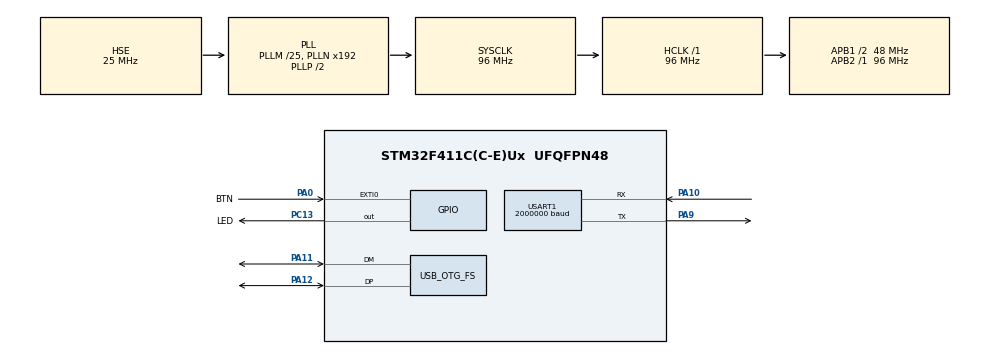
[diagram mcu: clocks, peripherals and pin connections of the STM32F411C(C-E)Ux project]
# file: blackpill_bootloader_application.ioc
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Mcu.Family=STM32F4
Mcu.Name=STM32F411C(C-E)Ux
Mcu.Package=UFQFPN48
NVIC.EXTI0_IRQn=true\:0\:0\:false\:false\:true\:true\:true\:true
NVIC.OTG_FS_IRQn=true\:0\:0\:false\:false\:true\:false\:true\:true
NVIC.PriorityGroup=NVIC_PRIORITYGROUP_4
PA0-WKUP.GPIO_Label=BTN
PA0-WKUP.GPIO_PuPd=GPIO_PULLUP
PA0-WKUP.Signal=GPXTI0
PA10.Mode=Asynchronous
PA10.Signal=USART1_RX
PA11.Mode=Device_Only
PA11.Signal=USB_OTG_FS_DM
PA12.Mode=Device_Only
PA12.Signal=USB_OTG_FS_DP
PA13.Mode=Trace_Asynchronous_SW
PA13.Signal=SYS_JTMS-SWDIO
PA14.Mode=Trace_Asynchronous_SW
PA14.Signal=SYS_JTCK-SWCLK
PA9.Mode=Asynchronous
PA9.Signal=USART1_TX
PB3.Mode=Trace_Asynchronous_SW
PB3.Signal=SYS_JTDO-SWO
PC13-ANTI_TAMP.GPIO_Label=LED
PC13-ANTI_TAMP.GPIO_ModeDefaultOutputPP=GPIO_MODE_OUTPUT_OD
PC13-ANTI_TAMP.GPIO_PuPd=GPIO_NOPULL
PC13-ANTI_TAMP.PinState=GPIO_PIN_SET
PC13-ANTI_TAMP.Signal=GPIO_Output
PH0\ -\ OSC_IN.Mode=HSE-External-Oscillator
PH0\ -\ OSC_IN.Signal=RCC_OSC_IN
PH1\ -\ OSC_OUT.Mode=HSE-External-Oscillator
PH1\ -\ OSC_OUT.Signal=RCC_OSC_OUT
ProjectManager.HeapSize=0x200
ProjectManager.StackSize=0x400
ProjectManager.TargetToolchain=STM32CubeIDE
RCC.48MHZClocksFreq_Value=48000000
RCC.AHBFreq_Value=96000000
RCC.APB1CLKDivider=RCC_HCLK_DIV2
RCC.APB1Freq_Value=48000000
RCC.APB1TimFreq_Value=96000000
RCC.APB2Freq_Value=96000000
RCC.APB2TimFreq_Value=96000000
RCC.CortexFreq_Value=96000000
RCC.HCLKFreq_Value=96000000
RCC.HSE_VALUE=25000000
RCC.HSI_VALUE=16000000
RCC.LSE_VALUE=32768
RCC.PLLM=25
RCC.SYSCLKFreq_VALUE=96000000
RCC.SYSCLKSource=RCC_SYSCLKSOURCE_PLLCLK
RCC.VCOOutputFreq_Value=192000000
USART1.BaudRate=2000000
USART1.VirtualMode=VM_ASYNC
USB_DEVICE.CLASS_NAME_FS=CDC
USB_DEVICE.VirtualMode=Cdc
USB_DEVICE.VirtualModeFS=Cdc_FS
USB_OTG_FS.VirtualMode=Device_Only
VP_USB_DEVICE_VS_USB_DEVICE_CDC_FS.Mode=CDC_FS
board=custom

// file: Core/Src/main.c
/* USER CODE BEGIN Header */
/**
 ******************************************************************************
 * @file           : main.c
 * @brief          : Main program body
 ******************************************************************************
 * @attention
 *
 * Copyright (c) 2024 Lars Boegild Thomsen <lth@stm32world.com>
 * All rights reserved.
 *
 * This software is licensed under terms that can be found in the LICENSE file
 * in the root directory of this software component.
 * If no LICENSE file comes with this software, it is provided AS-IS.
 *
 ******************************************************************************
 */
/* USER CODE END Header */
#include "main.h"
#include "usb_device.h"

/* USER CODE BEGIN PD */
#define DFU_BOOT_FLAG 0xDEADBEEF
/* USER CODE END PD */

UART_HandleTypeDef huart1;

/* USER CODE BEGIN PV */
extern int _bflag;
uint32_t *dfu_boot_flag;
uint32_t press_time = 0;
/* USER CODE END PV */

void SystemClock_Config(void);
static void MX_GPIO_Init(void);
static void MX_USART1_UART_Init(void);

/* USER CODE BEGIN 0 */

// Send printf to uart1
int _write(int fd, char *ptr, int len) {
    HAL_StatusTypeDef hstatus;

    if (fd == 1 || fd == 2) {
        hstatus = HAL_UART_Transmit(&huart1, (uint8_t*) ptr, len,
        HAL_MAX_DELAY);
        if (hstatus == HAL_OK)
            return len;
        else
            return -1;
    }
    return -1;
}

void HAL_GPIO_EXTI_Callback(uint16_t GPIO_Pin) {
    if (GPIO_Pin == BTN_Pin) { // If the button
        GPIO_PinState pinState = HAL_GPIO_ReadPin(BTN_GPIO_Port, BTN_Pin);
        if (pinState == GPIO_PIN_RESET) {
            printf("Button pressed\n");
            press_time = HAL_GetTick();
        } else {
            printf("Button released\n");
            if (HAL_GetTick() - press_time >= 5000) {
                // Set the boot flag and reset the mcu.  The bootloader
                // will detect the flag and stay in dfu mode.  This will
                // screw up the stack but that won't matter since the device
                // is reset immediately after.
                *dfu_boot_flag = DFU_BOOT_FLAG;
                HAL_NVIC_SystemReset();
            }
            press_time = HAL_GetTick();
        }

    }
}

/* USER CODE END 0 */

int main(void)
{

    /* USER CODE BEGIN 1 */
    dfu_boot_flag = (uint32_t*) (&_bflag); // set in linker script
    /* USER CODE END 1 */

    /* MCU Configuration--------------------------------------------------------*/

    /* Reset of all peripherals, Initializes the Flash interface and the Systick. */
    HAL_Init();

    /* Configure the system clock */
    SystemClock_Config();

    /* Initialize all configured peripherals */
    MX_GPIO_Init();
    MX_USART1_UART_Init();
    MX_USB_DEVICE_Init();
    /* USER CODE BEGIN 2 */

    printf("\n\n\n-----------\nApplication\n");

    /* USER CODE END 2 */

    /* Infinite loop */
    /* USER CODE BEGIN WHILE */

    uint32_t now = 0, next_blink = 500, next_tick = 1000, loop_cnt = 0;

    while (1) {

        now = uwTick;

        if (now >= next_blink) {
            HAL_GPIO_TogglePin(LED_GPIO_Port, LED_Pin);
            next_blink = now + 500;
        }

        if (now >= next_tick) {
            printf("Tick %0.2f (loop = %lu)\n", (float)(1.0 * now / 1000), loop_cnt);
            loop_cnt = 0;
            next_tick = now + 1000;
        }

        ++loop_cnt;

        /* USER CODE END WHILE */

    }
}

void SystemClock_Config(void)
{
    RCC_OscInitTypeDef RCC_OscInitStruct = { 0 };
    RCC_ClkInitTypeDef RCC_ClkInitStruct = { 0 };

    /** Configure the main internal regulator output voltage
     */
    __HAL_RCC_PWR_CLK_ENABLE();
    __HAL_PWR_VOLTAGESCALING_CONFIG(PWR_REGULATOR_VOLTAGE_SCALE1);

    /** Initializes the RCC Oscillators according to the specified parameters
     * in the RCC_OscInitTypeDef structure.
     */
    RCC_OscInitStruct.OscillatorType = RCC_OSCILLATORTYPE_HSE;
    RCC_OscInitStruct.HSEState = RCC_HSE_ON;
    RCC_OscInitStruct.PLL.PLLState = RCC_PLL_ON;
    RCC_OscInitStruct.PLL.PLLSource = RCC_PLLSOURCE_HSE;
    RCC_OscInitStruct.PLL.PLLM = 25;
    RCC_OscInitStruct.PLL.PLLN = 192;
    RCC_OscInitStruct.PLL.PLLP = RCC_PLLP_DIV2;
    RCC_OscInitStruct.PLL.PLLQ = 4;
    if (HAL_RCC_OscConfig(&RCC_OscInitStruct) != HAL_OK)
            {
        Error_Handler();
    }

    /** Initializes the CPU, AHB and APB buses clocks
     */
    RCC_ClkInitStruct.ClockType = RCC_CLOCKTYPE_HCLK | RCC_CLOCKTYPE_SYSCLK
            | RCC_CLOCKTYPE_PCLK1 | RCC_CLOCKTYPE_PCLK2;
    RCC_ClkInitStruct.SYSCLKSource = RCC_SYSCLKSOURCE_PLLCLK;
    RCC_ClkInitStruct.AHBCLKDivider = RCC_SYSCLK_DIV1;
    RCC_ClkInitStruct.APB1CLKDivider = RCC_HCLK_DIV2;
    RCC_ClkInitStruct.APB2CLKDivider = RCC_HCLK_DIV1;

    if (HAL_RCC_ClockConfig(&RCC_ClkInitStruct, FLASH_LATENCY_3) != HAL_OK)
            {
        Error_Handler();
    }
}

static void MX_USART1_UART_Init(void)
{

    huart1.Instance = USART1;
    huart1.Init.BaudRate = 2000000;
    huart1.Init.WordLength = UART_WORDLENGTH_8B;
    huart1.Init.StopBits = UART_STOPBITS_1;
    huart1.Init.Parity = UART_PARITY_NONE;
    huart1.Init.Mode = UART_MODE_TX_RX;
    huart1.Init.HwFlowCtl = UART_HWCONTROL_NONE;
    huart1.Init.OverSampling = UART_OVERSAMPLING_16;
    if (HAL_UART_Init(&huart1) != HAL_OK)
            {
        Error_Handler();
    }

}

static void MX_GPIO_Init(void)
{
    GPIO_InitTypeDef GPIO_InitStruct = { 0 };

    /* GPIO Ports Clock Enable */
    __HAL_RCC_GPIOC_CLK_ENABLE();
    __HAL_RCC_GPIOH_CLK_ENABLE();
    __HAL_RCC_GPIOA_CLK_ENABLE();
    __HAL_RCC_GPIOB_CLK_ENABLE();

    /*Configure GPIO pin Output Level */
    HAL_GPIO_WritePin(LED_GPIO_Port, LED_Pin, GPIO_PIN_SET);

    /*Configure GPIO pin : LED_Pin */
    GPIO_InitStruct.Pin = LED_Pin;
    GPIO_InitStruct.Mode = GPIO_MODE_OUTPUT_OD;
    GPIO_InitStruct.Pull = GPIO_NOPULL;
    GPIO_InitStruct.Speed = GPIO_SPEED_FREQ_LOW;
    HAL_GPIO_Init(LED_GPIO_Port, &GPIO_InitStruct);

    /*Configure GPIO pin : BTN_Pin */
    GPIO_InitStruct.Pin = BTN_Pin;
    GPIO_InitStruct.Mode = GPIO_MODE_IT_RISING;
    GPIO_InitStruct.Pull = GPIO_PULLUP;
    HAL_GPIO_Init(BTN_GPIO_Port, &GPIO_InitStruct);

    /* EXTI interrupt init*/
    HAL_NVIC_SetPriority(EXTI0_IRQn, 0, 0);
    HAL_NVIC_EnableIRQ(EXTI0_IRQn);

}

void Error_Handler(void)
{
    __disable_irq();
    while (1)
    {
    }
}
